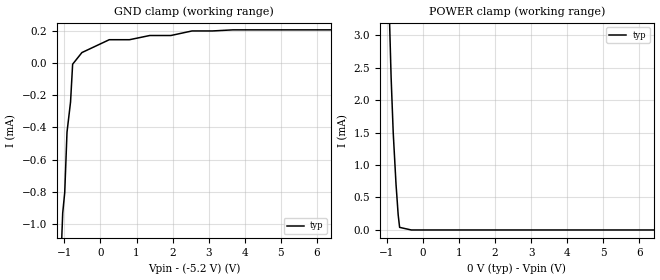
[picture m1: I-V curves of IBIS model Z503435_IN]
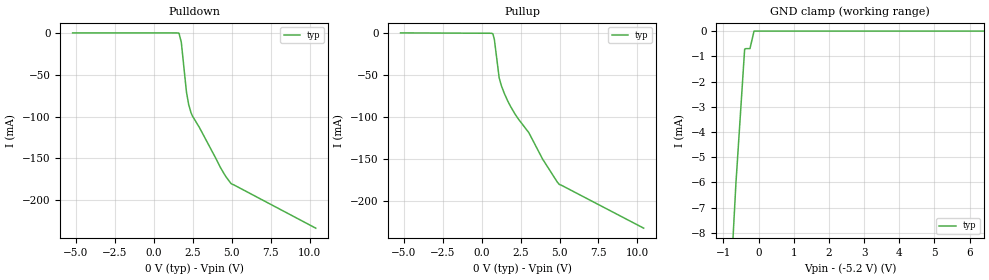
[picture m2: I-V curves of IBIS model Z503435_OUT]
| YOU ARE ONLY AUTHORIZED TO USE THIS SOFTWARE
| ACCORDING TO LICENSOR'S LICENSE RESTRICTIONS.
[IBIS Ver] 3.1
[File Name] mc10h104l.ibs
[File Rev] 2.0
[Source] Measured and created by ICX Technology
[Date] Friday 7/14/00 9:07:50 AM
[Copyright]
| (C) COPYRIGHT 1993-2000
| MENTOR GRAPHICS CORPORATION
| ICX STANDARD LIBRARY, ICX PROJECT MODELING,
| ICX CUSTOM MODELING, ICX VENDOR MODEL
| ALL RIGHTS RESERVED.
| THE FOLLOWING ARE TRADEMARKS OR SERVICE MARKS OF
| MENTOR GRAPHICS CORPORATION:ICX (R), ICX STANDARD
| LIBRARY(R), ICX PROJECT MODELING(R), ICX CUSTOM
| MODELING(R), qualityIBIS(TM), MODELVIEWER(TM),
| AND MODELEDITOR(TM)
| ALL COPIES OF SOFTWARE, INCLUDING BUT NOT LIMITED TO
| ANY MODIFICATIONS, ENHANCEMENTS OR DERIVATIVE WORKS,
| MUST CONTAIN ALL MENTOR GRAPHICS CORPORATION'S
| NOTICES AND LEGENDS, INCLUDING THOSE EMBEDDED IN
| SOFTWARE AND THOSE AFFIXED TO SOFTWARE MEDIUM
| AND CONTAINER, AS RECEIVED FROM MENTOR GRAPHICS
| CORPORATION.
|  ZAP Model Builder 2.7
[Component] MC10H104L
[Manufacturer] OnSemiconductor
[Package]
| variable   typ   min   max
R_pkg  .212ohms NA NA
L_pkg  4.758nH NA NA
C_pkg  1.944pF NA NA
[Pin] signal_name  model_name  R_pin  L_pin C_pin
1 VCC1 POWER .224 7.258n 2.683p
2 AOUT Z503435_OUT .216 5.258n 2.19p
3 BOUT Z503435_OUT .208 3.758n 1.697p
4 AIN Z503435_IN .2 2.758n 1.204p
5 AIN Z503435_IN .2 2.758n 1.204p
6 BIN Z503435_IN .208 3.758n 1.697p
7 BIN Z503435_IN .216 5.258n 2.19p
8 VEE POWER .224 7.258n 2.683p
9 _DOUT Z503435_OUT .224 7.258n 2.683p
10 CIN Z503435_IN .216 5.258n 2.19p
11 CIN Z503435_IN .208 3.758n 1.697p
12 DIN Z503435_IN .2 2.758n 1.204p
13 DIN Z503435_IN .2 2.758n 1.204p
14 COUT Z503435_OUT .208 3.758n 1.697p
15 DOUT Z503435_OUT .216 5.258n 2.19p
16 VCC2 POWER .224 7.258n 2.683p
| Models and submodels in the file (2): Z503435_IN (Input_ECL), Z503435_OUT (Output_ECL)
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| (C) COPYRIGHT 1993-2000
| MENTOR GRAPHICS CORPORATION
| ICX STANDARD LIBRARY, ICX PROJECT MODELING,
| ICX CUSTOM MODELING, ICX VENDOR MODEL
| ALL RIGHTS RESERVED.
| THE FOLLOWING ARE TRADEMARKS OR SERVICE MARKS OF
| MENTOR GRAPHICS CORPORATION:ICX (R), ICX STANDARD
| LIBRARY(R), ICX PROJECT MODELING(R), ICX CUSTOM
| MODELING(R), qualityIBIS(TM), MODELVIEWER(TM),
| AND MODELEDITOR(TM)
| ALL COPIES OF SOFTWARE, INCLUDING BUT NOT LIMITED TO
| ANY MODIFICATIONS, ENHANCEMENTS OR DERIVATIVE WORKS,
| MUST CONTAIN ALL MENTOR GRAPHICS CORPORATION'S
| NOTICES AND LEGENDS, INCLUDING THOSE EMBEDDED IN
| SOFTWARE AND THOSE AFFIXED TO SOFTWARE MEDIUM
| AND CONTAINER, AS RECEIVED FROM MENTOR GRAPHICS
| CORPORATION.
| Model Application Version 1.89 2/18/99.
[Model] Z503435_IN
Model_type Input_ECL
Vinl = -1.480V
Vinh = -1.130V
C_comp 4.000pF NA NA
| variable typ   min   max
[Voltage Range] -5.200V NA NA
[GND Clamp Reference] -5.200V NA NA
[POWER Clamp Reference] 0.000V NA NA
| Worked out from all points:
|   GND clamp passes 1 mA (typ) near -1.06 V on its own axis
|   POWER clamp passes 1 mA (typ) near -0.78 V on its own axis
[GND Clamp]
-5.2V     -11.89mA   NA         NA
-1.125V   -1.388mA   NA         NA
-1.047V   -931.9uA   NA         NA
-991mV    -804.3uA   NA         NA
-928mV    -429.3uA   NA         NA
-830mV    -242uA     NA         NA
-772mV    -6.797uA   NA         NA
-514.7mV  65.64uA    NA         NA
244mV     145.6uA    NA         NA
1.952V    171.7uA    NA         NA
2.539V    200.1uA    NA         NA
10.4V     206.9uA    NA         NA
[POWER Clamp]
-5.2V     448.1mA    NA         NA
-1.099V   6.634mA    NA         NA
-883.8mV  2.355mA    NA         NA
-825.2mV  1.499mA    NA         NA
-748.2mV  710.8uA    NA         NA
-687.5mV  232.6uA    NA         NA
-647.5mV  39.9uA     NA         NA
-323.7mV  0A         NA         NA
10.4V     0A         NA         NA
| (C) COPYRIGHT 1993-2000
| MENTOR GRAPHICS CORPORATION
| ICX STANDARD LIBRARY, ICX PROJECT MODELING,
| ICX CUSTOM MODELING, ICX VENDOR MODEL
| ALL RIGHTS RESERVED.
| THE FOLLOWING ARE TRADEMARKS OR SERVICE MARKS OF
| MENTOR GRAPHICS CORPORATION:ICX (R), ICX STANDARD
| LIBRARY(R), ICX PROJECT MODELING(R), ICX CUSTOM
| MODELING(R), qualityIBIS(TM), MODELVIEWER(TM),
| AND MODELEDITOR(TM)
| ALL COPIES OF SOFTWARE, INCLUDING BUT NOT LIMITED TO
| ANY MODIFICATIONS, ENHANCEMENTS OR DERIVATIVE WORKS,
| MUST CONTAIN ALL MENTOR GRAPHICS CORPORATION'S
| NOTICES AND LEGENDS, INCLUDING THOSE EMBEDDED IN
| SOFTWARE AND THOSE AFFIXED TO SOFTWARE MEDIUM
| AND CONTAINER, AS RECEIVED FROM MENTOR GRAPHICS
| CORPORATION.
| Model Application Version 1.89 2/18/99.
[Model] Z503435_OUT
Model_type Output_ECL
Vref=-2.000V
Rref=50.00ohms
Cref=0.000F
Vmeas=-1.305V
C_comp 8.000pF NA NA
| variable typ   min   max
[Voltage Range] -5.200V NA NA
[POWER Clamp Reference] 0.000V NA NA
[Pullup Reference] 0.000V NA NA
[Pulldown Reference] 0.000V NA NA
[GND Clamp Reference] -5.200V NA NA
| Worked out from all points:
|   GND clamp passes 1 mA (typ) near -0.41 V on its own axis
[GND Clamp]
-5.2V     -125.6mA   NA         NA
-643mV    -6.069mA   NA         NA
-394mV    -718uA     NA         NA
-359mV    -695.1uA   NA         NA
-243mV    -695.1uA   NA         NA
-127mV    0A         NA         NA
10.4V     0A         NA         NA
[Pulldown]
-5.2V     108.8uA    NA         NA
1.626V    -267.7uA   NA         NA
1.773V    -10.99mA   NA         NA
2.104V    -70.54mA   NA         NA
2.247V    -85.55mA   NA         NA
2.398V    -95.41mA   NA         NA
2.491V    -99.36mA   NA         NA
2.921V    -112.5mA   NA         NA
4.282V    -160.7mA   NA         NA
4.668V    -172.6mA   NA         NA
5.039V    -180.8mA   NA         NA
10.4V     -233.3mA   NA         NA
[Pullup]
-5.2V     522.9uA    NA         NA
728.3mV   -692.1uA   NA         NA
820.2mV   -7.288mA   NA         NA
1.129V    -53.18mA   NA         NA
1.274V    -62.73mA   NA         NA
1.465V    -72.02mA   NA         NA
2.158V    -96.75mA   NA         NA
3.032V    -118.6mA   NA         NA
3.914V    -150.1mA   NA         NA
4.863V    -177.7mA   NA         NA
4.981V    -180.3mA   NA         NA
10.4V     -232.6mA   NA         NA
[POWER Clamp]
-5.2V     0A         NA         NA
10.4V     0A         NA         NA
[Ramp]
| variable typ min max
dV/dt_r 527.4m/502.0p NA NA
dV/dt_f 527.4m/531.7p NA NA
R_load = 500.0Ohms
